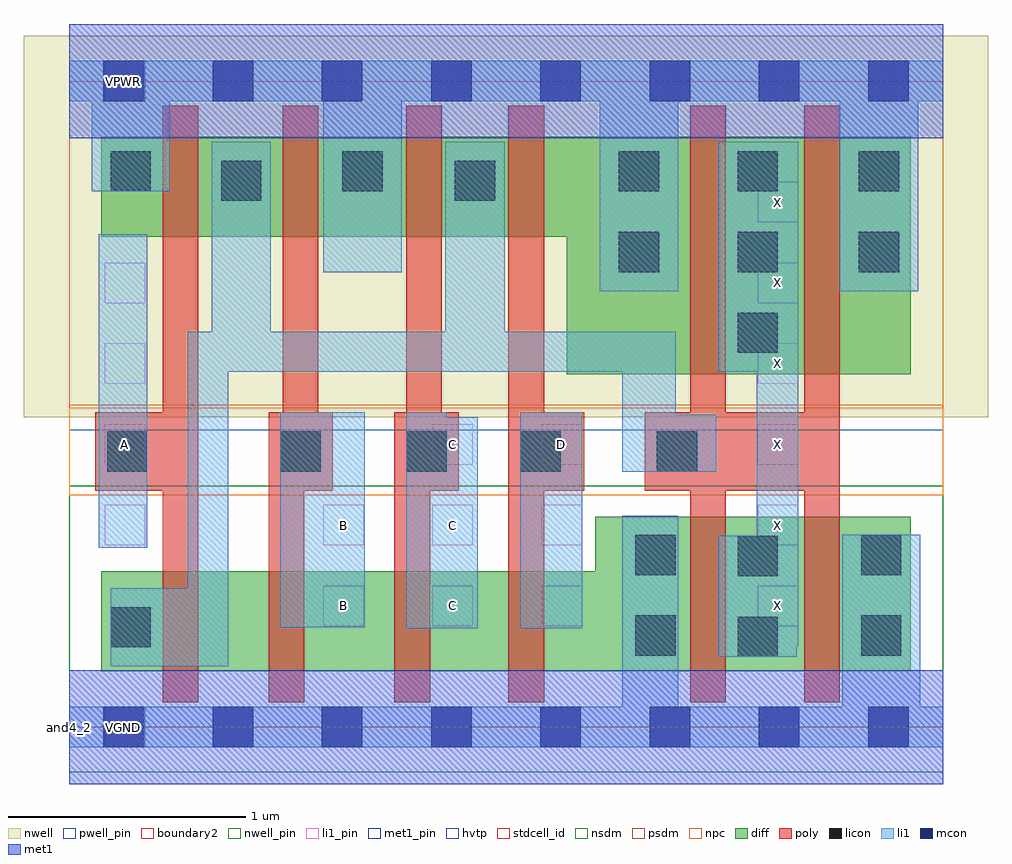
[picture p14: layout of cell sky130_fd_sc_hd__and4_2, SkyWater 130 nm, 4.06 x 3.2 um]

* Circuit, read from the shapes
.subckt sky130_fd_sc_hd__and4_2 A B C D VGND VNB VPB VPWR X
XM1 n1 A n2 VNB sky130_fd_pr__nfet_01v8 w=0.42 l=0.15
XM2 n3 B n1 VNB sky130_fd_pr__nfet_01v8 w=0.42 l=0.15
XM3 n4 C n3 VNB sky130_fd_pr__nfet_01v8 w=0.42 l=0.15
XM4 VGND D n4 VNB sky130_fd_pr__nfet_01v8 w=0.42 l=0.15
XM5 X n2 VGND VNB sky130_fd_pr__nfet_01v8 w=0.65 l=0.15 m=2
XM6 n2 A VPWR VPB sky130_fd_pr__pfet_01v8_hvt w=0.42 l=0.15
XM7 VPWR B n2 VPB sky130_fd_pr__pfet_01v8_hvt w=0.42 l=0.15
XM8 n2 C VPWR VPB sky130_fd_pr__pfet_01v8_hvt w=0.42 l=0.15
XM9 VPWR D n2 VPB sky130_fd_pr__pfet_01v8_hvt w=0.42 l=0.15
XM10 X n2 VPWR VPB sky130_fd_pr__pfet_01v8_hvt w=1 l=0.15 m=2
.ends

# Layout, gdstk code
import gdstk
lib = gdstk.Library(unit=1e-6, precision=1e-09)
def R(c, l, rs):  # rectangles x0, y0, x1, y1
    for r in rs: c.add(gdstk.rectangle(r[:2], r[2:], *l))
def P(c, l, *ps):  # polygons
    for p in ps: c.add(gdstk.Polygon(p, *l))
nwell_pin = (64, 16)
nwell = (64, 20)
diff = (65, 20)
poly = (66, 20)
licon = (66, 44)
li1_pin = (67, 16)
li1 = (67, 20)
mcon = (67, 44)
met1_pin = (68, 16)
met1 = (68, 20)
hvtp = (78, 44)
stdcell_id = (81, 4)
nsdm = (93, 44)
psdm = (94, 20)
npc = (95, 20)
pwell_pin = (122, 16)
boundary2 = (236, 0)

sky130_fd_sc_hd__and4_2 = lib.new_cell('sky130_fd_sc_hd__and4_2')
R(sky130_fd_sc_hd__and4_2, nwell_pin, [(0.15,2.635,0.32,2.805), (0.15,2.635,0.32,2.805)])
R(sky130_fd_sc_hd__and4_2, nwell, [(-0.19,1.305,3.87,2.91), (-0.19,1.305,3.87,2.91)])
P(sky130_fd_sc_hd__and4_2, diff, [(0.135,0.235),(0.135,0.655),(2.215,0.655),(2.215,0.885),(3.545,0.885),(3.545,0.235)],
  [(2.095,1.485),(2.095,2.065),(0.135,2.065),(0.135,2.485),(3.545,2.485),(3.545,1.485)],
  [(0.135,0.235),(0.135,0.655),(2.215,0.655),(2.215,0.885),(3.545,0.885),(3.545,0.235)],
  [(2.095,1.485),(2.095,2.065),(0.135,2.065),(0.135,2.485),(3.545,2.485),(3.545,1.485)])
P(sky130_fd_sc_hd__and4_2, poly, [(2.615,0.105),(2.615,0.995),(2.425,0.995),(2.425,1.325),(2.615,1.325),(2.615,2.615),(2.765,2.615),(2.765,1.325),(3.095,1.325),(3.095,2.615),(3.245,2.615),(3.245,0.105),(3.095,0.105),(3.095,0.995),(2.765,0.995),(2.765,0.105)],
  [(1.85,0.105),(1.85,2.615),(2,2.615),(2,1.325),(2.17,1.325),(2.17,0.995),(2,0.995),(2,0.105)],
  [(1.37,0.105),(1.37,1.325),(1.42,1.325),(1.42,2.615),(1.57,2.615),(1.57,1.325),(1.64,1.325),(1.64,0.995),(1.52,0.995),(1.52,0.105)],
  [(0.84,0.105),(0.84,1.325),(0.9,1.325),(0.9,2.615),(1.05,2.615),(1.05,1.325),(1.11,1.325),(1.11,0.995),(0.99,0.995),(0.99,0.105)],
  [(0.395,0.105),(0.395,0.995),(0.11,0.995),(0.11,1.325),(0.395,1.325),(0.395,2.615),(0.545,2.615),(0.545,0.105)],
  [(2.615,0.105),(2.615,0.995),(2.425,0.995),(2.425,1.325),(2.615,1.325),(2.615,2.615),(2.765,2.615),(2.765,1.325),(3.095,1.325),(3.095,2.615),(3.245,2.615),(3.245,0.105),(3.095,0.105),(3.095,0.995),(2.765,0.995),(2.765,0.105)],
  [(1.85,0.105),(1.85,2.615),(2,2.615),(2,1.325),(2.17,1.325),(2.17,0.995),(2,0.995),(2,0.105)],
  [(1.37,0.105),(1.37,1.325),(1.42,1.325),(1.42,2.615),(1.57,2.615),(1.57,1.325),(1.64,1.325),(1.64,0.995),(1.52,0.995),(1.52,0.105)],
  [(0.84,0.105),(0.84,1.325),(0.9,1.325),(0.9,2.615),(1.05,2.615),(1.05,1.325),(1.11,1.325),(1.11,0.995),(0.99,0.995),(0.99,0.105)],
  [(0.395,0.105),(0.395,0.995),(0.11,0.995),(0.11,1.325),(0.395,1.325),(0.395,2.615),(0.545,2.615),(0.545,0.105)])
R(sky130_fd_sc_hd__and4_2, licon, [(2.815,0.295,2.985,0.465), (2.815,0.295,2.985,0.465), (2.385,0.3,2.555,0.47), (2.385,0.3,2.555,0.47), (3.335,0.3,3.505,0.47), (3.335,0.3,3.505,0.47), (0.175,0.335,0.345,0.505), (0.175,0.335,0.345,0.505), (2.815,0.635,2.985,0.805), (2.815,0.635,2.985,0.805), (2.385,0.64,2.555,0.81), (2.385,0.64,2.555,0.81), (3.335,0.64,3.505,0.81), (3.335,0.64,3.505,0.81), (0.16,1.075,0.33,1.245), (0.16,1.075,0.33,1.245), (0.89,1.075,1.06,1.245), (0.89,1.075,1.06,1.245), (1.42,1.075,1.59,1.245), (1.42,1.075,1.59,1.245), (1.9,1.075,2.07,1.245), (1.9,1.075,2.07,1.245), (2.475,1.075,2.645,1.245), (2.475,1.075,2.645,1.245), (2.815,1.575,2.985,1.745), (2.815,1.575,2.985,1.745), (2.315,1.915,2.485,2.085), (2.315,1.915,2.485,2.085), (2.815,1.915,2.985,2.085), (2.815,1.915,2.985,2.085), (3.325,1.915,3.495,2.085), (3.325,1.915,3.495,2.085), (0.64,2.215,0.81,2.385), (0.64,2.215,0.81,2.385), (1.625,2.215,1.795,2.385), (1.625,2.215,1.795,2.385), (0.175,2.255,0.345,2.425), (0.175,2.255,0.345,2.425), (1.15,2.255,1.32,2.425), (1.15,2.255,1.32,2.425), (2.315,2.255,2.485,2.425), (2.315,2.255,2.485,2.425), (2.815,2.255,2.985,2.425), (2.815,2.255,2.985,2.425), (3.325,2.255,3.495,2.425), (3.325,2.255,3.495,2.425)])
R(sky130_fd_sc_hd__and4_2, li1_pin, [(1.07,0.425,1.24,0.595), (1.07,0.425,1.24,0.595), (1.53,0.425,1.7,0.595), (1.53,0.425,1.7,0.595), (1.99,0.425,2.16,0.595), (1.99,0.425,2.16,0.595), (2.9,0.425,3.07,0.595), (2.9,0.425,3.07,0.595), (0.15,0.765,0.32,0.935), (0.15,0.765,0.32,0.935), (1.07,0.765,1.24,0.935), (1.07,0.765,1.24,0.935), (1.53,0.765,1.7,0.935), (1.53,0.765,1.7,0.935), (1.99,0.765,2.16,0.935), (1.99,0.765,2.16,0.935), (2.9,0.765,3.07,0.935), (2.9,0.765,3.07,0.935), (0.15,1.105,0.32,1.275), (0.15,1.105,0.32,1.275), (1.53,1.105,1.7,1.275), (1.53,1.105,1.7,1.275), (1.99,1.105,2.16,1.275), (1.99,1.105,2.16,1.275), (2.9,1.105,3.07,1.275), (2.9,1.105,3.07,1.275), (0.15,1.445,0.32,1.615), (0.15,1.445,0.32,1.615), (2.9,1.445,3.07,1.615), (2.9,1.445,3.07,1.615), (0.15,1.785,0.32,1.955), (0.15,1.785,0.32,1.955), (2.9,1.785,3.07,1.955), (2.9,1.785,3.07,1.955), (2.9,2.125,3.07,2.295), (2.9,2.125,3.07,2.295)])
R(sky130_fd_sc_hd__and4_2, li1, [(1.9,0.415,2.16,1.325), (1.9,0.415,2.16,1.325), (0.89,0.42,1.245,1.325), (0.89,0.42,1.245,1.325), (0.125,0.755,0.33,2.075), (0.125,0.755,0.33,2.075)])
P(sky130_fd_sc_hd__and4_2, li1, [(0,-0.085),(0,0.085),(2.33,0.085),(2.33,0.89),(2.565,0.89),(2.565,0.085),(3.255,0.085),(3.255,0.81),(3.585,0.81),(3.585,0.085),(3.68,0.085),(3.68,-0.085)],
  [(2.235,1.835),(2.235,2.635),(1.4,2.635),(1.4,1.915),(1.07,1.915),(1.07,2.635),(0.425,2.635),(0.425,2.255),(0.095,2.255),(0.095,2.635),(0,2.635),(0,2.805),(3.68,2.805),(3.68,2.635),(3.575,2.635),(3.575,1.835),(3.245,1.835),(3.245,2.635),(2.565,2.635),(2.565,1.835)],
  [(2.735,0.295),(2.735,0.805),(2.895,0.805),(2.895,1.495),(2.735,1.495),(2.735,2.465),(3.07,2.465),(3.07,0.34),(3.065,0.34),(3.065,0.295)],
  [(0.175,0.255),(0.175,0.585),(0.5,0.585),(0.5,1.665),(0.6,1.665),(0.6,2.465),(0.85,2.465),(0.85,1.665),(1.585,1.665),(1.585,2.465),(1.835,2.465),(1.835,1.665),(2.555,1.665),(2.555,1.315),(2.725,1.315),(2.725,1.075),(2.33,1.075),(2.33,1.495),(0.67,1.495),(0.67,0.255)],
  [(1.42,0.415),(1.42,1.325),(1.59,1.325),(1.59,1.305),(1.72,1.305),(1.72,0.415)],
  [(0,-0.085),(0,0.085),(2.33,0.085),(2.33,0.89),(2.565,0.89),(2.565,0.085),(3.255,0.085),(3.255,0.81),(3.585,0.81),(3.585,0.085),(3.68,0.085),(3.68,-0.085)],
  [(2.235,1.835),(2.235,2.635),(1.4,2.635),(1.4,1.915),(1.07,1.915),(1.07,2.635),(0.425,2.635),(0.425,2.255),(0.095,2.255),(0.095,2.635),(0,2.635),(0,2.805),(3.68,2.805),(3.68,2.635),(3.575,2.635),(3.575,1.835),(3.245,1.835),(3.245,2.635),(2.565,2.635),(2.565,1.835)],
  [(2.735,0.295),(2.735,0.805),(2.895,0.805),(2.895,1.495),(2.735,1.495),(2.735,2.465),(3.07,2.465),(3.07,0.34),(3.065,0.34),(3.065,0.295)],
  [(0.175,0.255),(0.175,0.585),(0.5,0.585),(0.5,1.665),(0.6,1.665),(0.6,2.465),(0.85,2.465),(0.85,1.665),(1.585,1.665),(1.585,2.465),(1.835,2.465),(1.835,1.665),(2.555,1.665),(2.555,1.315),(2.725,1.315),(2.725,1.075),(2.33,1.075),(2.33,1.495),(0.67,1.495),(0.67,0.255)],
  [(1.42,0.415),(1.42,1.325),(1.59,1.325),(1.59,1.305),(1.72,1.305),(1.72,0.415)])
R(sky130_fd_sc_hd__and4_2, mcon, [(0.145,-0.085,0.315,0.085), (0.145,-0.085,0.315,0.085), (0.605,-0.085,0.775,0.085), (0.605,-0.085,0.775,0.085), (1.065,-0.085,1.235,0.085), (1.065,-0.085,1.235,0.085), (1.525,-0.085,1.695,0.085), (1.525,-0.085,1.695,0.085), (1.985,-0.085,2.155,0.085), (1.985,-0.085,2.155,0.085), (2.445,-0.085,2.615,0.085), (2.445,-0.085,2.615,0.085), (2.905,-0.085,3.075,0.085), (2.905,-0.085,3.075,0.085), (3.365,-0.085,3.535,0.085), (3.365,-0.085,3.535,0.085), (0.145,2.635,0.315,2.805), (0.145,2.635,0.315,2.805), (0.605,2.635,0.775,2.805), (0.605,2.635,0.775,2.805), (1.065,2.635,1.235,2.805), (1.065,2.635,1.235,2.805), (1.525,2.635,1.695,2.805), (1.525,2.635,1.695,2.805), (1.985,2.635,2.155,2.805), (1.985,2.635,2.155,2.805), (2.445,2.635,2.615,2.805), (2.445,2.635,2.615,2.805), (2.905,2.635,3.075,2.805), (2.905,2.635,3.075,2.805), (3.365,2.635,3.535,2.805), (3.365,2.635,3.535,2.805)])
R(sky130_fd_sc_hd__and4_2, met1_pin, [(0.15,-0.085,0.32,0.085), (0.15,-0.085,0.32,0.085), (0.15,2.635,0.32,2.805), (0.15,2.635,0.32,2.805)])
R(sky130_fd_sc_hd__and4_2, hvtp, [(0,1.25,3.68,2.72), (0,1.25,3.68,2.72)])
R(sky130_fd_sc_hd__and4_2, stdcell_id, [(0,0,3.68,2.72), (0,0,3.68,2.72)])
R(sky130_fd_sc_hd__and4_2, nsdm, [(0,-0.19,3.68,1.015), (0,-0.19,3.68,1.015)])
R(sky130_fd_sc_hd__and4_2, psdm, [(0,1.355,3.68,2.91), (0,1.355,3.68,2.91)])
R(sky130_fd_sc_hd__and4_2, npc, [(0,0.975,3.68,1.345), (0,0.975,3.68,1.345)])
R(sky130_fd_sc_hd__and4_2, pwell_pin, [(0.15,-0.085,0.32,0.085), (0.15,-0.085,0.32,0.085)])
R(sky130_fd_sc_hd__and4_2, boundary2, [(0,0,3.68,2.72), (0,0,3.68,2.72)])
sky130_fd_sc_hd__and4_2.add(gdstk.FlexPath([(0,2.72),(3.68,2.72)], 0.48, ends="flush", simple_path=True, layer=68, datatype=20))  # met1
sky130_fd_sc_hd__and4_2.add(gdstk.FlexPath([(0,0),(3.68,0)], 0.48, ends="flush", simple_path=True, layer=68, datatype=20))  # met1
sky130_fd_sc_hd__and4_2.add(gdstk.FlexPath([(0,2.72),(3.68,2.72)], 0.48, ends="flush", simple_path=True, layer=68, datatype=20))  # met1
sky130_fd_sc_hd__and4_2.add(gdstk.FlexPath([(0,0),(3.68,0)], 0.48, ends="flush", simple_path=True, layer=68, datatype=20))  # met1
sky130_fd_sc_hd__and4_2.add(gdstk.Label('X', (2.985,2.21), layer=67, texttype=5))
sky130_fd_sc_hd__and4_2.add(gdstk.Label('C', (1.615,0.51), layer=67, texttype=5))
sky130_fd_sc_hd__and4_2.add(gdstk.Label('C', (1.615,0.85), layer=67, texttype=5))
sky130_fd_sc_hd__and4_2.add(gdstk.Label('A', (0.235,1.19), layer=67, texttype=5))
sky130_fd_sc_hd__and4_2.add(gdstk.Label('C', (1.615,1.19), layer=67, texttype=5))
sky130_fd_sc_hd__and4_2.add(gdstk.Label('B', (1.155,0.51), layer=67, texttype=5))
sky130_fd_sc_hd__and4_2.add(gdstk.Label('B', (1.155,0.85), layer=67, texttype=5))
sky130_fd_sc_hd__and4_2.add(gdstk.Label('D', (2.075,1.19), layer=67, texttype=5))
sky130_fd_sc_hd__and4_2.add(gdstk.Label('X', (2.985,0.51), layer=67, texttype=5))
sky130_fd_sc_hd__and4_2.add(gdstk.Label('X', (2.985,0.85), layer=67, texttype=5))
sky130_fd_sc_hd__and4_2.add(gdstk.Label('X', (2.985,1.19), layer=67, texttype=5))
sky130_fd_sc_hd__and4_2.add(gdstk.Label('X', (2.985,1.53), layer=67, texttype=5))
sky130_fd_sc_hd__and4_2.add(gdstk.Label('X', (2.985,1.87), layer=67, texttype=5))
sky130_fd_sc_hd__and4_2.add(gdstk.Label('X', (2.985,2.21), layer=67, texttype=5))
sky130_fd_sc_hd__and4_2.add(gdstk.Label('C', (1.615,0.51), layer=67, texttype=5))
sky130_fd_sc_hd__and4_2.add(gdstk.Label('C', (1.615,0.85), layer=67, texttype=5))
sky130_fd_sc_hd__and4_2.add(gdstk.Label('A', (0.235,1.19), layer=67, texttype=5))
sky130_fd_sc_hd__and4_2.add(gdstk.Label('C', (1.615,1.19), layer=67, texttype=5))
sky130_fd_sc_hd__and4_2.add(gdstk.Label('B', (1.155,0.51), layer=67, texttype=5))
sky130_fd_sc_hd__and4_2.add(gdstk.Label('B', (1.155,0.85), layer=67, texttype=5))
sky130_fd_sc_hd__and4_2.add(gdstk.Label('D', (2.075,1.19), layer=67, texttype=5))
sky130_fd_sc_hd__and4_2.add(gdstk.Label('X', (2.985,0.51), layer=67, texttype=5))
sky130_fd_sc_hd__and4_2.add(gdstk.Label('X', (2.985,0.85), layer=67, texttype=5))
sky130_fd_sc_hd__and4_2.add(gdstk.Label('X', (2.985,1.19), layer=67, texttype=5))
sky130_fd_sc_hd__and4_2.add(gdstk.Label('X', (2.985,1.53), layer=67, texttype=5))
sky130_fd_sc_hd__and4_2.add(gdstk.Label('X', (2.985,1.87), layer=67, texttype=5))
sky130_fd_sc_hd__and4_2.add(gdstk.Label('VGND', (0.23,0), layer=68, texttype=5))
sky130_fd_sc_hd__and4_2.add(gdstk.Label('VPWR', (0.23,2.72), layer=68, texttype=5))
sky130_fd_sc_hd__and4_2.add(gdstk.Label('VGND', (0.23,0), layer=68, texttype=5))
sky130_fd_sc_hd__and4_2.add(gdstk.Label('VPWR', (0.23,2.72), layer=68, texttype=5))
sky130_fd_sc_hd__and4_2.add(gdstk.Label('VPB', (0.235,2.72), layer=64, texttype=5))
sky130_fd_sc_hd__and4_2.add(gdstk.Label('VPB', (0.235,2.72), layer=64, texttype=5))
sky130_fd_sc_hd__and4_2.add(gdstk.Label('VNB', (0.235,0), layer=64, texttype=59))
sky130_fd_sc_hd__and4_2.add(gdstk.Label('VNB', (0.235,0), layer=64, texttype=59))
sky130_fd_sc_hd__and4_2.add(gdstk.Label('and4_2', (0,0), layer=83, texttype=44))
sky130_fd_sc_hd__and4_2.add(gdstk.Label('and4_2', (0,0), layer=83, texttype=44))

lib.write_gds('sky130_fd_sc_hd__and4_2.gds')
